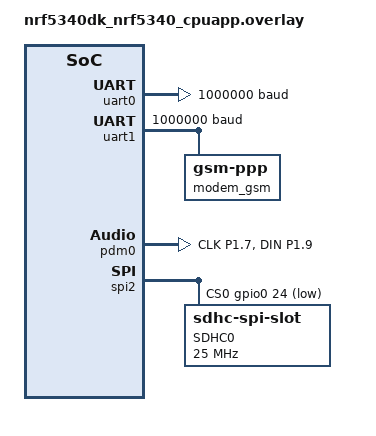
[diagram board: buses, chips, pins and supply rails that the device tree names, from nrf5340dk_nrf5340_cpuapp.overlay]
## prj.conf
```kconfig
#for serial and logging
CONFIG_LOG=n
CONFIG_SERIAL=n
# CONFIG_UART_NRFX=y

CONFIG_AUDIO=y
CONFIG_AUDIO_DMIC=y

# GSM modem support
CONFIG_MODEM=y
CONFIG_MODEM_GSM_PPP=y
CONFIG_MODEM_GSM_QUECTEL=y

# PPP networking support
CONFIG_NET_DRIVERS=y
CONFIG_NET_PPP=y
CONFIG_NET_L2_PPP=y
CONFIG_NET_NATIVE=y
CONFIG_NETWORKING=y
CONFIG_NET_L2_PPP_TIMEOUT=10000

# AWS


CONFIG_AWS_ENDPOINT="User's_AWS_endpoint"
CONFIG_AWS_THING_NAME="User's_AWS_Thing"
CONFIG_AWS_PUBLISH_TOPIC="User's_Publish_Topic"
CONFIG_AWS_SUBSCRIBE_TOPIC="User's_Subscribe_Topic"

CONFIG_AWS_TEST_SUITE_DQP=n
CONFIG_MAIN_STACK_SIZE=98000
# CONFIG_LOG_PROCESS_THREAD_STACK_SIZE=4096

CONFIG_ENTROPY_GENERATOR=y
CONFIG_TEST_RANDOM_GENERATOR=y
CONFIG_INIT_STACKS=y
CONFIG_HW_STACK_PROTECTION=y
CONFIG_NEWLIB_LIBC=y
CONFIG_POSIX_API=y
CONFIG_POSIX_MAX_FDS=6
CONFIG_SNTP=y

# DNS
CONFIG_DNS_RESOLVER=y
CONFIG_DNS_RESOLVER_ADDITIONAL_BUF_CTR=2
CONFIG_DNS_RESOLVER_MAX_SERVERS=1
CONFIG_DNS_SERVER_IP_ADDRESSES=y
CONFIG_DNS_SERVER1="8.8.8.8"
CONFIG_NET_SOCKETS_DNS_TIMEOUT=5000
CONFIG_DNS_RESOLVER_LOG_LEVEL_DBG=n

# Generic networking options
CONFIG_NET_UDP=y
CONFIG_NET_TCP=y
CONFIG_NET_IPV6=y
CONFIG_NET_IPV4=y
CONFIG_NET_SOCKETS=y
CONFIG_NET_SOCKETS_SOCKOPT_TLS=y

# Network management events
CONFIG_NET_CONNECTION_MANAGER=y

CONFIG_NET_SHELL=y
CONFIG_MODEM_SHELL=y
# CONFIG_MODEM_SHELL_INFO=y
# CONFIG_MODEM_GSM_APN="airtelgprs.com"
CONFIG_MODEM_GSM_APN="data.apn.name"
CONFIG_MODEM_SIM_NUMBERS=n

# Network buffers
CONFIG_NET_PKT_RX_COUNT=128
CONFIG_NET_PKT_TX_COUNT=128
CONFIG_NET_BUF_RX_COUNT=128
CONFIG_NET_BUF_TX_COUNT=128

#For Baud rate
CONFIG_NET_PPP_RINGBUF_SIZE=8192



# MQTT
CONFIG_MQTT_LIB=y
CONFIG_MQTT_LIB_TLS=y
CONFIG_MQTT_KEEPALIVE=60
CONFIG_AWS_QOS= 1
CONFIG_MBEDTLS=y
CONFIG_MBEDTLS_BUILTIN=y
CONFIG_MBEDTLS_ENABLE_HEAP=y
CONFIG_MBEDTLS_HEAP_SIZE=65536
# CONFIG_MBEDTLS_HEAP_SIZE=131072
CONFIG_MBEDTLS_SSL_MAX_CONTENT_LEN=16384
CONFIG_MBEDTLS_PEM_CERTIFICATE_FORMAT=y
CONFIG_MBEDTLS_USER_CONFIG_ENABLE=y
CONFIG_MBEDTLS_USER_CONFIG_FILE="user-tls.h"
CONFIG_MBEDTLS_SERVER_NAME_INDICATION=y
CONFIG_MBEDTLS_TLS_VERSION_1_2=y
CONFIG_MBEDTLS_MEMORY_DEBUG=n
CONFIG_FPU=y




# CONFIG_LOG_BACKEND_UART=y
CONFIG_SPI=y
CONFIG_STDOUT_CONSOLE=y
CONFIG_FLASH=y
CONFIG_PRINTK=y
CONFIG_SPI_NRFX_RAM_BUFFER_SIZE=512
CONFIG_I2S=y
CONFIG_DATE_TIME=y
CONFIG_REBOOT=y

#SD Card
CONFIG_DISK_ACCESS=y
CONFIG_FILE_SYSTEM=y
CONFIG_FAT_FILESYSTEM_ELM=y
CONFIG_DISK_DRIVER_SDMMC=y
```

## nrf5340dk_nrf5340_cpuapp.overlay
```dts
&uart0 {
	current-speed = <1000000>;
	status = "okay";
};

&pinctrl {
	uart1_default: uart1_default {
		group1 {
			psels = <NRF_PSEL(UART_TX, 1, 10)>;
		};
		group2 {
			psels = <NRF_PSEL(UART_RX, 1, 11)>;
			bias-pull-up;
		};
	};

	uart1_sleep: uart1_sleep {
		group1 {
			psels = <NRF_PSEL(UART_TX, 1, 10)>,
					<NRF_PSEL(UART_RX,1, 11)>;
			low-power-enable;
		};
	};


};
&uart1 {
	status = "okay";
	current-speed = <1000000>;  // for US devices it should be 921600
	gsm: gsm-modem {
		status = "okay";
		compatible = "zephyr,gsm-ppp";
		label = "modem_gsm";
	};
};

&pinctrl {
	
	spi2_default_alt: spi2_default_alt {
		group1 {
			psels = <NRF_PSEL(SPIM_SCK, 0, 5)>,
				<NRF_PSEL(SPIM_MISO, 0, 27)>,
				<NRF_PSEL(SPIM_MOSI, 0, 4)>;
		};
	};

	spi2_sleep_alt: spi2_sleep_alt {
		group1 {
			psels = <NRF_PSEL(SPIM_SCK, 0, 5)>,
				<NRF_PSEL(SPIM_MISO, 0, 27)>,
				<NRF_PSEL(SPIM_MOSI, 0, 4)>;
			low-power-enable;
		};
	};
};

// Audio ---------------------
&clock {
	hfclkaudio-frequency = <12288000>;
};

&pinctrl {
	pdm0_default_alt: pdm0_default_alt {
		group1 {
			psels = <NRF_PSEL(PDM_CLK, 1, 7)>,
					<NRF_PSEL(PDM_DIN, 1, 9)>;
		};
	};
};

dmic_dev: &pdm0 {
	status = "okay";
	pinctrl-0 = <&pdm0_default_alt>;
	pinctrl-names = "default";
	clock-source = "ACLK";
	queue-size = <16>;
};


&spi2 {
	status = "okay";
	cs-gpios = <&gpio0 24 GPIO_ACTIVE_LOW>;
	sdhc0: sdhc@0 {
		compatible = "zephyr,sdhc-spi-slot";
		reg = <0>;
		status = "okay";
		mmc{
			compatible = "zephyr,sdmmc-disk";
			status = "okay";
		};
		label = "SDHC0";
		spi-max-frequency = <25000000>;
	};
};
```

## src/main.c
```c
/*
 * Copyright (c) 2024 Ridhima Verma Suman Kumar <ridhima.20eez0011@iitrpr.ac.in>
 *
 * SPDX-License-Identifier: Apache-2.0
 * 
 */

#include <zephyr/logging/log.h>

#include "creds/creds.h"
#include "headers/main_aws.h"
#include "headers/main_audio.h"
#include "headers/main_gsm.h"
#include "headers/main_epoch.h"

#include <errno.h>
#include <stdio.h>
#include <stdlib.h>
#include <string.h>
#include <time.h>

#include <zephyr/data/json.h>
#include <zephyr/device.h>
#include <zephyr/devicetree.h>
#include <zephyr/drivers/flash.h>
#include <zephyr/kernel.h>
#include <zephyr/logging/log.h>
#include <zephyr/net/dns_resolve.h>
#include <zephyr/net/mqtt.h>
#include <zephyr/net/sntp.h>
#include <zephyr/net/tls_credentials.h>
#include <zephyr/random/rand32.h>
#include <zephyr/device.h>
#include <zephyr/drivers/gpio.h>
#include <zephyr/pm/pm.h>
#include <poll.h>
#include <unistd.h>
#include <zephyr/kernel.h>
#include <zephyr/sys/printk.h>

#define SPI_FLASH_SECTOR_SIZE 4096
#define READ_ADDRESS 4096
#define WRITE_ADDRESS 8192


/* GPIO led code */
// Initialization LED2 for starting the system
#define LED0_NODE DT_ALIAS(led1)
static const struct gpio_dt_spec led = GPIO_DT_SPEC_GET(LED0_NODE, gpios);

/* Defining the mutex as to lock the flash while reading and writing and then unlocking it. */

K_MUTEX_DEFINE(flash_mutex);

int DEV_ID = 0x77;
int write_index = 0;
int read_index = 0;
int max_write_index = 300000; //for 32GB SD Card
int max_read_index = 300000;  //for 32GB SD Card

void main(void)
{
	int rc;
	int temp_read_index, temp_write_index;
	const struct device *flash_dev;
	flash_dev = DEVICE_DT_GET(DT_ALIAS(spi_flash0));
	int len = sizeof(int);
	if (!device_is_ready(flash_dev))
	{
		printk("%s: flash device device not ready.\n", flash_dev->name);
		return;
	}
	rc = flash_read(flash_dev, READ_ADDRESS, &temp_read_index, len);
	if(rc == 0){
		printk("Successfully read Read_index : %d\n",temp_read_index);
		if(temp_read_index>0 && temp_read_index<max_read_index){
			read_index = temp_read_index;
		}
	}
	else printk("Failed to read Read_index\n");
	rc = flash_read(flash_dev, WRITE_ADDRESS, &temp_write_index, len);
	if(rc == 0){
		printk("Successfully read write_index : %d\n",temp_write_index);
		if(temp_write_index>0 && temp_write_index<max_write_index){
			write_index = temp_write_index;
		}
	}
	else printk("Failed to read write_index\n");
	printk("Device ID is : %x\n", DEV_ID);
	printk("Starting Board! %s\n", CONFIG_BOARD);
	Audio_init();
	/* Observer initializatiion. */
	/* RESET SYSTEM FOR GSM AFTER REBOOT. */
	/* GPIO 28 is set to 3V(HIGH) After 100ms. */
	gpio_pin_configure_dt(&led, GPIO_OUTPUT | GPIO_ACTIVE_LOW);
	K_MSEC(100);
	gpio_pin_set_dt(&led, 0);
	K_MSEC(100);
	gpio_pin_set_dt(&led, 1);
	K_SECONDS(1);

	init_gsm(&GSM_CONNECTED, &GSM_DISCONNECTED);
	printk("Intializing GSM.....\n");
	init_aws();
	AWS_loop();
}
```

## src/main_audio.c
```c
/*Audio to Cloud via SD Card*/
#include "headers/main_aws.h"
#include "headers/main_audio.h"
#include "headers/main_gsm.h"
#include "headers/main_epoch.h"
#include <zephyr/devicetree.h>
#include <time.h>
#include <string.h>
#include <math.h>
#include <zephyr/device.h>
#include <zephyr/storage/disk_access.h>
#include <zephyr/drivers/flash.h>
#include <zephyr/logging/log.h>
#include <zephyr/fs/fs.h>
#include <ff.h>

// For audio
#include <string.h>
#include <zephyr/kernel.h>
#include <zephyr/sys/printk.h>
#include <zephyr/audio/dmic.h>
#include <complex.h>

// MUTEX flash lock read / write
extern struct k_mutex flash_mutex;

const struct device *flash_dev;

LOG_MODULE_REGISTER(audio_start);

// Audio Fetching Variable Declaration --------------------------------------------------

#define PI 3.14159265358979323846
#define AUDIO_FREQ 8000 // for 8 kHz
#define CHAN_SIZE 16
#define PCM_BLK_SIZE_MS ((AUDIO_FREQ / 1000) * sizeof(int16_t))
#define NUM_MS 6000
K_MEM_SLAB_DEFINE(rx_mem_slab, PCM_BLK_SIZE_MS, NUM_MS + 1, 1);
K_MEM_SLAB_DEFINE(rx_temp_slab, 4, 4, 4);
void *rx_block[NUM_MS];
size_t rx_size = PCM_BLK_SIZE_MS;
extern int write_index;
int audio_info_len = 16;
extern int DEV_ID;
#define READ_TIMEOUT_MS 2000
#define TARGET_FREQUENCY 2000
#define HAMMING_WINDOW_BLOCK_SIZE 128

// Goertzel Detection Algorithm Variable Declaration -------------------------------------

double magnitude = 0.0, mean = 0.0;
double threshold_mean =  50;
#define AUDIO_FRAGMENT 96000

#define SPI_FLASH_SECTOR_SIZE 4096
#define READ_ADDRESS 4096
#define WRITE_ADDRESS 8192
extern int max_write_index;


//Pre-defined Timer******************************************************************
int64_t timeInterval = 0;
extern int startTime;

// SD params -----------------------------------

static FATFS fat_fs;
/* mounting info */
static struct fs_mount_t mp = {
	.type = FS_FATFS,
	.fs_data = &fat_fs,
};

/*
 *  Note the fatfs library is able to mount only strings inside _VOLUME_STRS
 *  in ffconf.h
 */
static const char *disk_mount_pt = "/SD:";

// Hamming Window Smoothening Function ------------------------------------------------------

static float hamming_window(size_t i)
{
	const float alpha = 0.53836;
	const float beta = 1.0 - alpha;
	float h = (alpha - beta * cosf((2 * PI * i) / (HAMMING_WINDOW_BLOCK_SIZE - 1)));
	return h;
}

//Detection Algorithm Function ------------------------------------------------------------

static float goertzel(const int16_t *pcm_data[])
{
	printk("Entering goertzel function\n");
	const float sampling_rate = (float)AUDIO_FREQ;
	const float omega = (2.0 * PI * TARGET_FREQUENCY) / sampling_rate;

	// for current, previous and previous than previous value of q
	float q0 = 0.0, q1 = 0.0, q2 = 0.0;
	float cosine = cosf(omega);

	for (size_t i = 0; i < NUM_MS; i++)
	{
		float h = 0.0;
		// Goertzel
		q1 = 0.0;
		q2 = 0.0;
		int16_t data = 0;
		for (size_t j = i; j < i + HAMMING_WINDOW_BLOCK_SIZE / 8; j++)
		{
			for (size_t k = 0; k < 8; k++)
			{
				h = hamming_window((j - i) * 8 + k + 1);
				// Extracting data from audio block
				data = pcm_data[j][k];
				q0 = h * (float)data + 2.0 * cosine * q1 - q2;
				q2 = q1;
				q1 = q0;
				// printk("q0:%f, q1:%f, q2:%f, Data:%d\n", q0, q1, q2, data);
			}
		}

//Magnitude Calculation ------------------------------------------------------------
	
		magnitude = cabsf(q1 - cexp(-I * 2 * PI * TARGET_FREQUENCY / sampling_rate) * q2);
		mean += magnitude;
		// printk("Magnittude %i is %f\n", (i / (16)), 20 * log10(magnitude));
		i += 15;
	}
	mean = 20 * log10(mean / 375);
	printk("Mean is %f\n", mean);  //Mean magnitude in dB
//	k_sleep(K_MSEC(100));
	return mean;
}

void audio_start(void)
{
	int rc;
	const struct device *flash_dev;
	flash_dev = DEVICE_DT_GET(DT_ALIAS(spi_flash0));
	// Audio ------------------
	int i;
	uint32_t ms;
	int ret;

	const struct device *const mic_dev = DEVICE_DT_GET(DT_NODELABEL(dmic_dev));

   /* Verify MEMS Microphone Availability -------------------------------------------------*/

	if (!device_is_ready(mic_dev))
	{
		LOG_ERR("%s: device not ready.\n", mic_dev->name);
		return 0;
	}

	struct pcm_stream_cfg stream = {
		.pcm_width = CHAN_SIZE,
		.mem_slab = &rx_mem_slab,
	};

	struct dmic_cfg cfg = {
		.io = {
			.min_pdm_clk_freq = 512000, // For 8kHz = 64(decimation ratio)*8
			.max_pdm_clk_freq = 640000, // For 8kHz = 80(decimation ratio)*8
			.min_pdm_clk_dc = 40,
			.max_pdm_clk_dc = 60,
		},
		.streams = &stream,
		.channel = {
			.req_num_streams = 1,
		},
	};

	cfg.channel.req_num_chan = 1;
	cfg.channel.req_chan_map_lo =
		dmic_build_channel_map(0, 0, PDM_CHAN_LEFT);
	cfg.streams[0].pcm_rate = AUDIO_FREQ;
	cfg.streams[0].block_size = PCM_BLK_SIZE_MS;

	ret = dmic_configure(mic_dev, &cfg);
	if (ret < 0)
	{
		LOG_ERR("microphone configuration error\n");
		return 0;
	}
	else
	{
		LOG_INF("microphone configuration success\n");
	}

	for (;;)
	{
		int res;
		int epoch_array[10] = {0};
		uint8_t audio_info_part[16] = {0};
		/* Audio get data ---------------------------------------------------------------*/
		ret = dmic_trigger(mic_dev, DMIC_TRIGGER_START);
		if (ret < 0)
		{
			LOG_ERR("microphone start trigger error\n");
			return 0;
		}
		else
		{
			LOG_INF("microphone start trigger success\n");
		}
		/* Acquire microphone audio ----------------------------------------------------*/
		printf("Recording...\n");
		for (ms = 0; ms < NUM_MS; ms++)
		{
			ret = dmic_read(mic_dev, 0, &rx_block[ms], &rx_size, READ_TIMEOUT_MS);
			if (ret < 0)
			{
				LOG_ERR("%d microphone audio read error %p %u.\n", ms, rx_block[ms], rx_size);
				return 0;
			}
		}
		float mean = goertzel((const int16_t *)rx_block);
		/* Compare the Magnitude Mean from Detection Algorithm with Threshold value --------*/
		if (mean > threshold_mean)
		{
			printk("Attempting to write to file...\n");
			char filename[30];

			struct fs_file_t filep;
			size_t bytes_written;

			fs_file_t_init(&filep);

           /*Write the Recorded Audio to Sd Card storage unit --------------------------------*/

			sprintf(&filename, "/SD:/%d.raw", write_index);

			fs_unlink(filename);

			res = fs_open(&filep, filename, FS_O_CREATE | FS_O_WRITE | FS_O_APPEND);
			if (res)
			{
				printk("Error opening file %s [%d]\n", filename, res);
				// return;
			}
			else
			{
				printk("File %s opened successfully\n", filename);
				setting_epoch();
				get_epoch(epoch_array);
				/*Append Device ID and Epoch Timestamp --------------------------------------------*/
				audio_info_part[0] = DEV_ID;
				for (int epoch_count = 0; epoch_count < 10; epoch_count++)
				{
					audio_info_part[epoch_count + 1] = epoch_array[epoch_count];
				}
				fs_write(&filep, &audio_info_part, sizeof(audio_info_part));
			}

/*Identify the PCM samples recorded --------------------------------------------*/
			for (i = 0; i < NUM_MS; i++)
			{
				uint32_t *pcm_out = rx_block[i];
				for (int j = 0; j < rx_size / 4; j++)
				{
					// printk("Writing 0x%8x, \n", pcm_out[j]);

					res = fs_write(&filep, &pcm_out[j], sizeof(uint32_t));
					if (res < 0)
					{
						printk("Error writing file [%d]\n", res);
					}
					else
					{
						// printk("%d bytes written to file\n", res);
					}
				}
				k_mem_slab_free(&rx_temp_slab, &pcm_out);
			}
			write_index++;
			if(write_index > max_write_index){
				write_index = 0;
			}

			k_mutex_lock(&flash_mutex, K_FOREVER);
			rc = flash_erase(flash_dev, WRITE_ADDRESS, SPI_FLASH_SECTOR_SIZE);
			if (rc != 0)
			{
				printk("Flash erase failed with error code %d\n", rc);
				return;
			}
			const int wr_len = sizeof(int);
			rc = flash_write(flash_dev, WRITE_ADDRESS, &write_index, wr_len);
			if (rc == 0)
			{
				printk("Updated write_index : %d\n", write_index);
			}
			else
				printk("Failed to update write_index\n");
			k_mutex_unlock(&flash_mutex);

			printk("Done Writing\n");
			printk("Done recording\n");

			res = fs_close(&filep);
			if (res < 0)
			{
				printk("%d %d", res, -ENOTSUP);
				printk("Error closing file [%d]\n", res);
				// lsdir(disk_mount_pt);
			}
			for (int b = 0; b < NUM_MS; b++)
				k_mem_slab_free(&rx_mem_slab, &rx_block[b]);

//Default 1 minute predefined interval****************************************************************

                                timeInterval = k_uptime_get();
                        if (timeInterval - startTime >= 60000)
                        {
			break;
		}
		else
                        {
                                // nothing to do
                        }
		}
		else
		{
			printk("Done recording\n");
			printk("Mean is too less to write file in card!!!\n");
		
		// Freeing memory slab buffer
                        for (int b = 0; b < NUM_MS; b++)
                        {
                                k_mem_slab_free(&rx_mem_slab, &rx_block[b]);
                        }
                        
                        timeInterval = k_uptime_get();
                        if (timeInterval - startTime >= 60000)
                        {
                                break;
                        }
                        else
                        {
                                // nothing to do
                        }
		}
	}
}

void Audio_init()
{

	static const char *disk_pdrv = "SD";
	uint64_t memory_size_mb;
	uint32_t block_count;
	uint32_t block_size;

	if (disk_access_init(disk_pdrv) != 0)
	{
		LOG_ERR("Storage init ERROR!");
		return;
	}

	if (disk_access_ioctl(disk_pdrv,
						  DISK_IOCTL_GET_SECTOR_COUNT, &block_count))
	{
		LOG_ERR("Unable to get sector count");
		return;
	}
	LOG_INF("Block count %u", block_count);

	if (disk_access_ioctl(disk_pdrv,
						  DISK_IOCTL_GET_SECTOR_SIZE, &block_size))
	{
		LOG_ERR("Unable to get sector size");
		return;
	}
	printk("Sector size %u\n", block_size);

	memory_size_mb = (uint64_t)block_count * block_size;
	printk("Memory Size(MB) %u\n", (uint32_t)(memory_size_mb >> 20));
	// }

	mp.mnt_point = disk_mount_pt;

	int res = fs_mount(&mp);

	if (res == FR_OK)
	{
		printk("Disk mounted.\n");
	}
	else
	{
		printk("Error mounting disk.\n");
	}
}

/*Display the Directory List of SD card --------------------------------------------*/
// static int lsdir(const char *path)
// {
// 	int res;
// 	struct fs_dir_t dirp;
// 	static struct fs_dirent entry;

// 	fs_dir_t_init(&dirp);

// 	/* Verify fs_opendir() */
// 	res = fs_opendir(&dirp, path);
// 	if (res)
// 	{
// 		printk("Error opening dir %s [%d]\n", path, res);
// 		return res;
// 	}

// 	printk("\nListing dir %s ...\n", path);
// 	for (;;)
// 	{
// 		/* Verify fs_readdir() */
// 		res = fs_readdir(&dirp, &entry);

// 		/* entry.name[0] == 0 means end-of-dir */
// 		if (res || entry.name[0] == 0)
// 		{
// 			break;
// 		}

// 		if (entry.type == FS_DIR_ENTRY_DIR)
// 		{
// 			printk("[DIR ] %s\n", entry.name);
// 		}
// 		else
// 		{
// 			printk("[FILE] %s (size = %zu)\n",
// 				   entry.name, entry.size);
// 		}
// 	}

// 	/* Verify fs_closedir() */
// 	fs_closedir(&dirp);

// 	return res;
// }
```

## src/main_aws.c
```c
#include "creds/creds.h"
#include "headers/main_aws.h"
#include "headers/main_audio.h"
#include "headers/main_gsm.h"
#include "headers/main_epoch.h"

#include <errno.h>
#include <stdio.h>
#include <stdlib.h>
#include <time.h>

#include <zephyr/devicetree.h>
#include <zephyr/drivers/modem/gsm_ppp.h>
#include <zephyr/drivers/uart.h>
#include <zephyr/kernel.h>
#include <zephyr/logging/log.h>
#include <zephyr/net/dns_resolve.h>
#include <zephyr/net/mqtt.h>
// #include <zephyr/net/net_conn_mgr.h>
#include <zephyr/net/net_core.h>
#include <zephyr/net/net_event.h>
#include <zephyr/net/net_mgmt.h>
#include <zephyr/net/ppp.h>
#include <zephyr/net/sntp.h>
#include <zephyr/net/tls_credentials.h>
#include <zephyr/drivers/flash.h>
#include <zephyr/random/rand32.h>
#include <zephyr/shell/shell.h>
#include <zephyr/sys/printk.h>
#include <zephyr/zephyr.h>

#include <zephyr/device.h>
#include <zephyr/drivers/gpio.h>
#include <zephyr/pm/pm.h>
#include <poll.h>
#include <unistd.h>
#include <zephyr/zephyr.h>

#define SPI_FLASH_SECTOR_SIZE 4096
#define READ_ADDRESS 4096
#define WRITE_ADDRESS 8192

// const struct device *flash_dev;
// flash_dev = DEVICE_DT_GET(DT_ALIAS(spi_flash0));

/* GPIO led code */
// Initialization LED3 for publishing data to AWS
// #define LED2_NODE DT_ALIAS(led3)
// static const struct gpio_dt_spec led7 = GPIO_DT_SPEC_GET(LED2_NODE, gpios);

#define GSM_MODEM_NODE DT_COMPAT_GET_ANY_STATUS_OKAY(zephyr_gsm_ppp)
#define UART_NODE DT_BUS(GSM_MODEM_NODE)

static const struct device *const gsm_dev = DEVICE_DT_GET(GSM_MODEM_NODE);
static struct net_mgmt_event_callback mgmt_cb;

#if defined(CONFIG_MBEDTLS_MEMORY_DEBUG)
#include <mbedtls/memory_buffer_alloc.h>
#endif
#include <sys/socket.h>

static bool gsm_connected_aws = false;

#define SNTP_SERVER "0.pool.ntp.org"

#define AWS_BROKER_PORT "8883"

#define MQTT_BUFFER_SIZE 256u
#define APP_BUFFER_SIZE 16384u

#define MAX_RETRIES 10u
#define BACKOFF_EXP_BASE_MS 1000u
#define BACKOFF_EXP_MAX_MS 60000u
#define BACKOFF_CONST_MS 5000u

static struct sockaddr_in aws_broker;

static uint8_t rx_buffer[MQTT_BUFFER_SIZE];
static uint8_t tx_buffer[MQTT_BUFFER_SIZE];
static uint8_t buffer[APP_BUFFER_SIZE]; /* Shared between published and received messages */

static struct mqtt_client client_ctx;

static const char mqtt_client_name[] = CONFIG_AWS_THING_NAME;

static uint32_t messages_received_counter;
static bool do_publish;	  /* Trigger client to publish */
static bool do_subscribe; /* Trigger client to subscribe */

// AWS Certificates --------------------------------------------------

#define TLS_TAG_DEVICE_CERTIFICATE 1
#define TLS_TAG_DEVICE_PRIVATE_KEY 1
#define TLS_TAG_AWS_CA_CERTIFICATE 1

extern struct k_mutex flash_mutex;
// #define PUBLISH_PAYLOAD_SIZE 4096

// Audio MQTT Publish Payload Variable --------------------------------------------------
int PUBLISH_PAYLOAD_SIZE = 96000;
// #define PUBLISH_PAYLOAD_SIZE 79872
int startTime = 0;
extern int read_index;
extern int write_index;
int audio_counter = 0;
int pub_ret = -1;

extern int max_read_index;
uint8_t read_total_frag = 0x00;

extern int counter;
// #define FLASH_MAX_SIZE 16777216
#define FLASH_MAX_SIZE 16704000
// #define FLASH_MAX_SIZE 8388608
K_SEM_DEFINE(ack_done_sem, 0, 1);

#include <stdio.h>
#include <string.h>

#include <zephyr/device.h>
#include <zephyr/devicetree.h>
#include <zephyr/drivers/flash.h>
#include <zephyr/zephyr.h>

static int var_memory = 0;

static sec_tag_t sec_tls_tags[] = {
	TLS_TAG_DEVICE_CERTIFICATE,
};

// Setting up AWS Credentials -------------------------------------

static int setup_credentials(void)
{
	int ret;

	ret = tls_credential_add(TLS_TAG_DEVICE_CERTIFICATE, TLS_CREDENTIAL_SERVER_CERTIFICATE,
							 public_cert, public_cert_len);
	if (ret < 0)
	{
		printk("Failed to add device certificate: %d", ret);
		goto exit;
	}

	ret = tls_credential_add(TLS_TAG_DEVICE_PRIVATE_KEY, TLS_CREDENTIAL_PRIVATE_KEY,
							 private_key, private_key_len);
	if (ret < 0)
	{
		printk("Failed to add device private key: %d", ret);
		goto exit;
	}

	ret = tls_credential_add(TLS_TAG_AWS_CA_CERTIFICATE, TLS_CREDENTIAL_CA_CERTIFICATE, ca_cert,
							 ca_cert_len);
	if (ret < 0)
	{
		printk("Failed to add device private key: %d", ret);
		goto exit;
	}

exit:
	return ret;
}

// MQTT Audio Publish Payload -------------------------------------------

static int publish_message(const char *topic, size_t topic_len, uint8_t *payload,
						   size_t payload_len)
{

	static uint32_t message_id = 1u;

	int ret;
	struct mqtt_publish_param msg;

	msg.retain_flag = 0u;
	msg.message.topic.topic.utf8 = topic;
	msg.message.topic.topic.size = topic_len;
	msg.message.topic.qos = CONFIG_AWS_QOS;
	msg.message.payload.data = payload;
	msg.message.payload.len = payload_len;
	msg.message_id = message_id++;

	ret = mqtt_publish(&client_ctx, &msg);
	if (ret != 0)
	{
		printk("Failed to publish message: %d", ret);
		printk("Address of flash which is not published: %08x \n", read_index);
		/* MQTT not connected */
		// gpio_pin_configure_dt(&led7, GPIO_OUTPUT | GPIO_ACTIVE_LOW);
		// gpio_pin_set_dt(&led7, 0);
		// k_sleep(K_MSEC(100));
	}
	else
	{
		messages_received_counter++;

		printk("PUBLISHED on topic \"%s\" [ id: %u qos: %u ], payload: %u B", topic, msg.message_id,
			   msg.message.topic.qos, payload_len);
	}

	k_sleep(K_MSEC(500));

	return ret;
}

static ssize_t handle_published_message(const struct mqtt_publish_param *pub)
{
	int ret;
	size_t received = 0u;
	const size_t message_size = pub->message.payload.len;
	const bool discarded = message_size > APP_BUFFER_SIZE;

	printk("RECEIVED on topic \"%s\" [ id: %u qos: %u ] payload: %u / %u B",
		   (const char *)pub->message.topic.topic.utf8, pub->message_id, pub->message.topic.qos,
		   message_size, APP_BUFFER_SIZE);

	while (received < message_size)
	{
		uint8_t *p = discarded ? buffer : &buffer[received];

		ret = mqtt_read_publish_payload_blocking(&client_ctx, p, APP_BUFFER_SIZE);
		if (ret < 0)
		{
			return ret;
		}

		received += ret;
	}

	/* Send ACK */
	switch (pub->message.topic.qos)
	{
	case MQTT_QOS_1_AT_LEAST_ONCE:
	{
		struct mqtt_puback_param puback;

		puback.message_id = pub->message_id;
		mqtt_publish_qos1_ack(&client_ctx, &puback);
	}
	break;
	case MQTT_QOS_2_EXACTLY_ONCE: /* unhandled (not supported by AWS) */
	case MQTT_QOS_0_AT_MOST_ONCE: /* nothing to do */
	default:
		break;
	}

	return discarded ? -ENOMEM : received;
}

const char *mqtt_evt_type_to_str(enum mqtt_evt_type type)
{
	static const char *const types[] = {
		"CONNACK",
		"DISCONNECT",
		"PUBLISH",
		"PUBACK",
		"PUBREC",
		"PUBREL",
		"PUBCOMP",
		"SUBACK",
		"UNSUBACK",
		"PINGRESP",
	};

	return (type < ARRAY_SIZE(types)) ? types[type] : "<unknown>";
}

// Audio MQTT Publish Payload Callback --------------------------------------------------

static void mqtt_event_cb(struct mqtt_client *client, const struct mqtt_evt *evt)
{
	printk("MQTT event: %s [%u] result: %d", mqtt_evt_type_to_str(evt->type), evt->type,
		   evt->result);

	switch (evt->type)
	{
	case MQTT_EVT_CONNACK:
	{
		// do_subscribe = true;
		do_publish = true;
	}
	break;

	case MQTT_EVT_PUBLISH:
	{
		const struct mqtt_publish_param *pub = &evt->param.publish;

		handle_published_message(pub);
		messages_received_counter++;
#if !defined(CONFIG_AWS_TEST_SUITE_RECV_QOS1)
		do_publish = true;
#endif
	}
	break;

	case MQTT_EVT_SUBACK:
	{
#if !defined(CONFIG_AWS_TEST_SUITE_RECV_QOS1)
		do_publish = true;
#endif
	}
	break;

	case MQTT_EVT_PUBACK:
	{
		int rc;
		const struct device *flash_dev;
		flash_dev = DEVICE_DT_GET(DT_ALIAS(spi_flash0));
		if (!device_is_ready(flash_dev))
		{
			printk("%s: flash device device not ready.\n", flash_dev->name);
			return;
		}

		// k_sem_give(&ack_done_sem);
		printk("\nPUBACK received, flash @ %08x -> \n", read_index);
		read_index++;
		k_mutex_lock(&flash_mutex, K_FOREVER);
		rc = flash_erase(flash_dev, READ_ADDRESS, SPI_FLASH_SECTOR_SIZE);
		if (rc != 0)
		{
			printk("Flash erase failed with error code %d\n", rc);
			return;
		}
		const int wr_len = sizeof(int);
		rc = flash_write(flash_dev, READ_ADDRESS, &read_index, wr_len);
		if (rc == 0)
		{
			printk("Updated read_index : %d\n", read_index);
		}
		else
			printk("Failed to update read_index\n");
		k_mutex_unlock(&flash_mutex);
	}
	break;

	case MQTT_EVT_DISCONNECT:
	case MQTT_EVT_PUBREC:
	case MQTT_EVT_PUBREL:
	case MQTT_EVT_PUBCOMP:
	case MQTT_EVT_PINGRESP:
	case MQTT_EVT_UNSUBACK:
	default:
		break;
	}
}

// AWS Client Setup --------------------------------------------------

static void aws_client_setup(void)
{
	mqtt_client_init(&client_ctx);

	client_ctx.broker = &aws_broker;
	client_ctx.evt_cb = mqtt_event_cb;

	client_ctx.client_id.utf8 = (uint8_t *)mqtt_client_name;
	client_ctx.client_id.size = sizeof(mqtt_client_name) - 1;
	client_ctx.password = NULL;
	client_ctx.user_name = NULL;

	client_ctx.keepalive = CONFIG_MQTT_KEEPALIVE;

	client_ctx.protocol_version = MQTT_VERSION_3_1_1;

	client_ctx.rx_buf = rx_buffer;
	client_ctx.rx_buf_size = MQTT_BUFFER_SIZE;
	client_ctx.tx_buf = tx_buffer;
	client_ctx.tx_buf_size = MQTT_BUFFER_SIZE;

	/* setup TLS */
	client_ctx.transport.type = MQTT_TRANSPORT_SECURE;
	struct mqtt_sec_config *const tls_config = &client_ctx.transport.tls.config;

	tls_config->peer_verify = TLS_PEER_VERIFY_REQUIRED;
	tls_config->cipher_list = NULL;
	tls_config->sec_tag_list = sec_tls_tags;
	tls_config->sec_tag_count = ARRAY_SIZE(sec_tls_tags);
	tls_config->hostname = CONFIG_AWS_ENDPOINT;
	tls_config->cert_nocopy = TLS_CERT_NOCOPY_NONE;
}

struct backoff_context
{
	uint16_t retries_count;
	uint16_t max_retries;

#if defined(CONFIG_AWS_EXPONENTIAL_BACKOFF)
	uint32_t attempt_max_backoff; /* ms */
	uint32_t max_backoff;		  /* ms */
#endif
};

// Exponential Backoff for Retries -------------------------------------------
static void backoff_context_init(struct backoff_context *bo)
{
	__ASSERT_NO_MSG(bo != NULL);

	bo->retries_count = 0u;
	bo->max_retries = MAX_RETRIES;

#if defined(CONFIG_AWS_EXPONENTIAL_BACKOFF)
	bo->attempt_max_backoff = BACKOFF_EXP_BASE_MS;
	bo->max_backoff = BACKOFF_EXP_MAX_MS;
#endif
}

/* https://aws.amazon.com/blogs/architecture/exponential-backoff-and-jitter/ */
static void backoff_get_next(struct backoff_context *bo, uint32_t *next_backoff_ms)
{
	__ASSERT_NO_MSG(bo != NULL);
	__ASSERT_NO_MSG(next_backoff_ms != NULL);

#if defined(CONFIG_AWS_EXPONENTIAL_BACKOFF)
	if (bo->retries_count <= bo->max_retries)
	{
		*next_backoff_ms = sys_rand32_get() % (bo->attempt_max_backoff + 1u);

		/* Calculate max backoff for the next attempt (~ 2**attempt) */
		bo->attempt_max_backoff = MIN(bo->attempt_max_backoff * 2u, bo->max_backoff);
		bo->retries_count++;
	}
#else
	*next_backoff_ms = BACKOFF_CONST_MS;
#endif
}

static int aws_client_try_connect(void)
{
	int ret = -1;
	uint32_t backoff_ms;
	struct backoff_context bo;

	backoff_context_init(&bo);

	while (bo.retries_count <= bo.max_retries)
	{

		// Sytem reboot if backoff delay is greater than 5
		if (bo.retries_count >= 3)
		{ // changed from 3 to 5
			printk("Inside the rebbot");
			sys_reboot();
		}

		ret = mqtt_connect(&client_ctx);
		if (ret == 0)
		{
			/* MQTT  connected */
			// gpio_pin_configure_dt(&led7, GPIO_OUTPUT | GPIO_ACTIVE_LOW);
			// gpio_pin_set_dt(&led7, 1);
			K_MSEC(100);
			goto exit;
		}

		backoff_get_next(&bo, &backoff_ms);

		printk("Failed to connect: %d backoff delay: %u ms", ret, backoff_ms);
		k_msleep(backoff_ms);
		// gpio_pin_configure_dt(&led7, GPIO_OUTPUT | GPIO_ACTIVE_LOW);
		// gpio_pin_set_dt(&led7, 0);

		K_MSEC(100);
	}

exit:
	return ret;
}

struct publish_payload
{
	uint32_t counter;
};

void publish(void)
{
	/* The length of data reading from flash is 1024*64 bytes */
	int ret;
	int rc;
	const size_t len = PUBLISH_PAYLOAD_SIZE;

	uint8_t buf[PUBLISH_PAYLOAD_SIZE];
	struct fs_file_t file;
	fs_file_t_init(&file);
	char read_filename[30];
	if (read_index >= max_read_index)
	{
		read_index = 0;
	}
	if (read_index < write_index)
	{
		sprintf(&read_filename, "/SD:/%d.raw", read_index);
		ret = fs_open(&file, read_filename, FS_O_READ);
		// ret = fs_seek(&file, read_index * PUBLISH_PAYLOAD_SIZE, FS_SEEK_SET);
		
		rc = fs_read(&file, &buf, sizeof(buf));
		if (rc < 0)
		{
			printk("FAIL: read %s: [rd:%d]\n", read_filename, rc);
		}
		ret = fs_close(&file);
	}

	publish_message(CONFIG_AWS_PUBLISH_TOPIC, strlen(CONFIG_AWS_PUBLISH_TOPIC), buf,
					len);
}

void aws_client_loop(void)
{
	int rc;
	int timeout;
	struct pollfd fds;

	// printk("setting up client\n");
	aws_client_setup();
	// printk("client setup done\n");
// GSM Modem Connection Setup -------------------------------------------
	if (gsm_connected_aws)
	{
		printk("GSM_CONNECTED_AWS ..............\n");
		printk("connecting...\n");
		rc = aws_client_try_connect();

		if (rc != 0)
		{
			goto cleanup;
		}
	}
	else
	{
		goto cleanup;
	}

	printk("client connected\n");

	fds.fd = client_ctx.transport.tcp.sock;
	fds.events = POLLIN | POLLHUP | POLLERR;

	for (;;)
	{
		printk("\nTrying publishing....\n");
		timeout = mqtt_keepalive_time_left(&client_ctx);
		rc = poll(&fds, 1u, timeout);
		if (rc >= 0)
		{
			if (fds.revents & POLLIN)
			{
				rc = mqtt_input(&client_ctx);
				if (rc != 0)
				{
					printk("Failed to read MQTT input: %d\n", rc);
					/* MQTT not connected */
					break;
				}
			}

			rc = mqtt_live(&client_ctx);
			if ((rc != 0) && (rc != -EAGAIN))
			{
				printk("Failed to live MQTT: %d\n", rc);
				/* MQTT not connected */

				break;
			}
		}
		else
		{
			printk("poll failed: %d", rc);
			break;
		}

		if (do_publish)
		{
			printk("\ndo publish true! \n\n");
			if (audio_counter < 2)
			{
				if ((write_index - read_index) >= 1)
				{
					audio_counter++;
				}
				else
				{
					audio_counter = 0;

					/*Publish after 1 minute default pre-defined time ----------------------------*/

					startTime = k_uptime_get();
					audio_start();
				}
			}
			else
			{
				audio_counter = 0;
				startTime = k_uptime_get();
				audio_start();
			} // from here it will enter main_audio.c
			while (1)
			{

				if (write_index < read_index)
				{
					var_memory = max_read_index;
				}
				else
				{
					var_memory = 0;
				}

				if (((write_index - read_index + var_memory) >= 1))
				{

					break;
				}
				k_msleep(100);
			}

			{
				printk("\n publishing data address: %08x \n", read_index);
				publish();
			}
		}
	}

cleanup:
	mqtt_disconnect(&client_ctx);
	close(fds.fd);
	fds.fd = -1;
}

int sntp_sync_time(void)
{

	int rc;
	struct sntp_time now;
	struct timespec tspec;

	rc = sntp_simple(SNTP_SERVER, SYS_FOREVER_MS, &now);
	// printk("\n Value in SNTP = %x\n", now.seconds);
	if (rc == 0)
	{
		printk("\n Value in SNTP = %d", now.seconds);
		tspec.tv_sec = now.seconds;
		tspec.tv_nsec = ((uint64_t)now.fraction * (1000lu * 1000lu * 1000lu)) >> 32;

		clock_settime(CLOCK_REALTIME, &tspec);

		printk("Acquired time from NTP server: %u", (uint32_t)tspec.tv_sec);
	}
	else
	{
		printk("Failed to acquire SNTP, code %d\n", rc);
	}
	return rc;
}

// AWS Broker Address for Connection Setup-------------------------------------------
static int resolve_broker_addr(struct sockaddr_in *broker)
{
	// printk("entered broke//r\n");/

	int ret;
	struct zsock_addrinfo *ai = NULL;

	const struct zsock_addrinfo hints = {
		.ai_family = AF_INET,
		.ai_socktype = SOCK_STREAM,
		.ai_protocol = 0,
	};

	// printk("zsock calling\n");
	ret = zsock_getaddrinfo(CONFIG_AWS_ENDPOINT, AWS_BROKER_PORT, &hints, &ai);

	if (ret == 0)
	{
		printk("copying memory\n");
		memcpy(broker, ai->ai_addr, MIN(ai->ai_addrlen, sizeof(struct sockaddr_storage)));

		char addr_str[INET_ADDRSTRLEN];

		zsock_inet_ntop(AF_INET, &broker->sin_addr, addr_str, sizeof(addr_str));
		printk("Resolved: %s:%u", addr_str, htons(broker->sin_port));
	}
	else
	{
		// printk("failed to resolve hostname err = %d (errno = %d)", ret, errno);
	}

	zsock_freeaddrinfo(ai);
	// printk("left broker\n");

	return ret;
}

void init_aws(void)
{
	printk("Initializing AWS...\n");

	dns_init_resolver();

	sntp_sync_time();

	setup_credentials();

	setting_epoch();

	printk("_____AWS Initialised____ \n");
}

void GSM_CONNECTED(void)
{
	gsm_connected_aws = true;
}

void GSM_DISCONNECTED(void)
{
	gsm_connected_aws = false;
}

void AWS_loop(void)
{

	for (;;)
	{
		// printk("Calling broker\n");
		resolve_broker_addr(&aws_broker);

		// printk("Calling client\n");
		aws_client_loop();
#if defined(CONFIG_MBEDTLS_MEMORY_DEBUG)
		size_t cur_used, cur_blocks, max_used, max_blocks;

		mbedtls_memory_buffer_alloc_cur_get(&cur_used, &cur_blocks);
		mbedtls_memory_buffer_alloc_max_get(&max_used, &max_blocks);
		printk("mbedTLS heap usage: MAX %u/%u (%u) CUR %u (%u)", max_used,
			   CONFIG_MBEDTLS_HEAP_SIZE, max_blocks, cur_used, cur_blocks);
#endif

		k_sleep(K_SECONDS(1));
	}

	return;
}
```

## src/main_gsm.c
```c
/*
 * Copyright (c) 2020, Intel Corporation
 *
 * SPDX-License-Identifier: Apache-2.0
 */

#include <zephyr/zephyr.h>
#include <zephyr/sys/printk.h>
#include <zephyr/shell/shell.h>
#include <zephyr/drivers/uart.h>
#include <zephyr/net/net_mgmt.h>
#include <zephyr/net/net_event.h>
// #include <zephyr/net/net_conn_mgr.h>
#include <zephyr/net/net_core.h>
#include <zephyr/drivers/modem/gsm_ppp.h>
#include <zephyr/devicetree.h>
#include <zephyr/net/ppp.h>
#include "headers/main_aws.h"
#include "headers/main_audio.h"
#include "headers/main_epoch.h"

/* GPIO led code */
#include <zephyr/drivers/gpio.h>
#include <zephyr/zephyr.h>
#include <zephyr/pm/pm.h>
#include <zephyr/device.h>
#include <zephyr/zephyr.h>

/* GPIO led code */
// Initialization LED4 for GSM connected
// #define LED0_NODE DT_ALIAS(led2)
// static const struct gpio_dt_spec led = GPIO_DT_SPEC_GET(LED0_NODE, gpios);

#include "headers/main_gsm.h"

#include <zephyr/logging/log.h>

#define GSM_MODEM_NODE DT_COMPAT_GET_ANY_STATUS_OKAY(zephyr_gsm_ppp)
#define UART_NODE DT_BUS(GSM_MODEM_NODE)

static const struct device *const gsm_dev = DEVICE_DT_GET(GSM_MODEM_NODE);
static struct net_mgmt_event_callback mgmt_cb;

static void (*gsm_connected_gsm)();
static void (*gsm_disconnected_gsm)();

static void event_handler(struct net_mgmt_event_callback *cb,
						  uint32_t mgmt_event, struct net_if *iface)
{
	ARG_UNUSED(cb);
	ARG_UNUSED(iface);

	if ((mgmt_event & (NET_EVENT_L4_CONNECTED | NET_EVENT_L4_DISCONNECTED)) != mgmt_event)
	{
		return;
	}

	if (mgmt_event == NET_EVENT_L4_CONNECTED)
	{
		printk("Network connected");
		(*gsm_connected_gsm)(NULL);
		printk("LED 4 IS HIGH\n");
		// gpio_pin_configure_dt(&led, GPIO_OUTPUT | GPIO_ACTIVE_LOW);
		// gpio_pin_set_dt(&led, 1);
		// K_MSEC(100);
		//(void)gsm_query_local_time(gsm_dev);
		return;
	}

	if (mgmt_event == NET_EVENT_L4_DISCONNECTED)
	{
		printk("Network disconnected");
		(*gsm_disconnected_gsm)(NULL);
		printk("LED 4 IS LOW\n");
		// gpio_pin_configure_dt(&led, GPIO_OUTPUT | GPIO_ACTIVE_LOW);
		// gpio_pin_set_dt(&led, 0);
		// K_MSEC(100);
		k_sleep(K_SECONDS(30));
		sys_reboot();

		return;
	}
}

static void modem_on_cb(const struct device *dev, void *user_data)
{
	ARG_UNUSED(dev);
	ARG_UNUSED(user_data);

	// printk("GSM modem on callback fired");
}

static void modem_off_cb(const struct device *dev, void *user_data)
{
	ARG_UNUSED(dev);
	ARG_UNUSED(user_data);

	// printk("GSM modem off callback fired");
}

void init_gsm(void *gsm_connected, void *gsm_disconnected)
{
	gsm_connected_gsm = gsm_connected;
	gsm_disconnected_gsm = gsm_disconnected;

	printk("Init... gsm");

	const struct device *uart_dev = DEVICE_DT_GET(UART_NODE);

	/* Optional register modem power callbacks */
	gsm_ppp_register_modem_power_callback(gsm_dev, modem_on_cb, modem_off_cb, NULL);

	printk("Board '%s' APN '%s' UART '%s' device %p (%s)",
		   CONFIG_BOARD, CONFIG_MODEM_GSM_APN,
		   uart_dev->name, uart_dev, gsm_dev->name);

	net_mgmt_init_event_callback(&mgmt_cb, event_handler,
								 NET_EVENT_L4_CONNECTED |
									 NET_EVENT_L4_DISCONNECTED);
	net_mgmt_add_event_callback(&mgmt_cb);

	printk("Initialised gsm\n");
}
```
